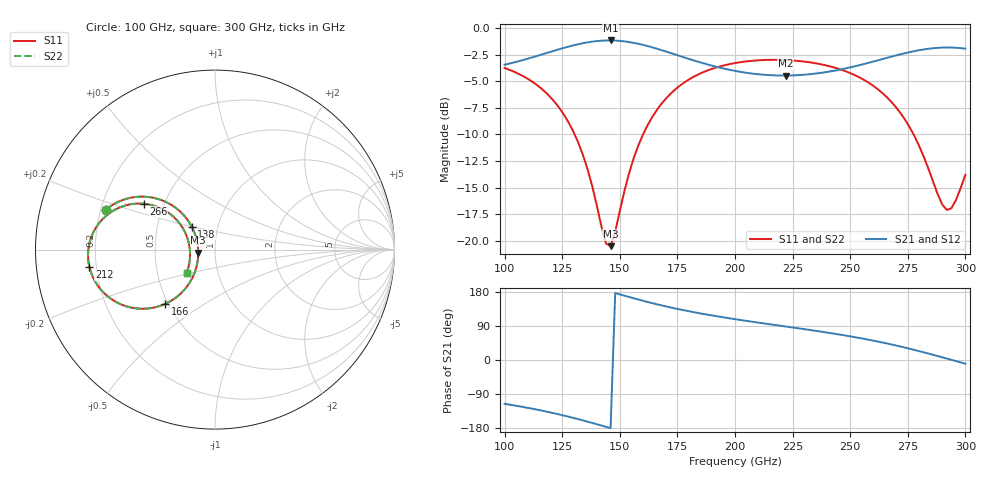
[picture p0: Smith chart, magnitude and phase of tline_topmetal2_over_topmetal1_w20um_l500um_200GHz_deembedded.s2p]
! Created with skrf 2.2.0 (http://scikit-rf.org).
# GHz S DB R 50.0
! Port[1] = P1
! Port[2] = P2
!freq dBS11 angS11 dBS21 angS21 dBS12 angS12 dBS22 angS22
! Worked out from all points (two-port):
!   101 points, 100 GHz to 300 GHz, reference 50 ohm
!   highest |S21| = -1.18 dB at 146 GHz (marker M1); lowest = -4.5 dB at 222 GHz (marker M2)
!   |S21| within 3 dB of the highest: start of sweep to 203.9 GHz; 238.5 GHz to end of sweep
!   lowest |S11| = -20.5 dB at 146 GHz (marker M3), VSWR 1.21, Z = 41.5 - j1.49 ohm
!   |S11| at or under -10 dB: 130.4 GHz to 160.1 GHz (29.67 GHz wide, 20.4 % of centre); 277.5 GHz to end of sweep
!   |S22| runs from -20.4 to -3.0 dB; largest |S21 - S12| = 9.4e-14
!   S11 on the Smith chart (normalised r, x): 100 GHz: 0.22, +0.17; 138 GHz: 0.75, +0.20; 166 GHz: 0.48, -0.35; 212 GHz: 0.17, -0.07; 266 GHz: 0.39, +0.25; 300 GHz: 0.71, -0.19
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100  -3.77 160.0  -3.45 -115.6  -3.45 -115.6  -3.77 160.0
120  -6.53 141.6  -2.24 -138.6  -2.24 -138.6  -6.53 141.6
128  -8.96 134.6  -1.74 -150.0  -1.74 -150.0  -8.96 134.7
134  -11.91 132.2  -1.44 -159.5  -1.44 -159.5  -11.91 132.3
138  -14.81 135.3  -1.29 -166.1  -1.29 -166.1  -14.80 135.4
144  -20.22 168.0  -1.18 -176.4  -1.18 -176.4  -20.18 168.1
146  -20.47 -169.2  -1.18 -179.9  -1.18 -179.9  -20.43 -169.2
156  -12.25 -127.2  -1.40 162.9  -1.40 162.9  -12.24 -127.3
166  -7.73 -132.5  -1.95 147.2  -1.95 147.2  -7.72 -132.6
168  -7.15 -134.3  -2.08 144.3  -2.08 144.3  -7.14 -134.4
182  -4.59 -147.7  -3.04 126.3  -3.04 126.3  -4.59 -147.7
200  -3.30 -163.1  -4.03 107.8  -4.03 107.8  -3.30 -163.1
212  -3.02 -172.1  -4.39 97.0  -4.39 97.0  -3.02 -172.1
222  -3.02 -179.3  -4.47 88.4  -4.47 88.4  -3.02 -179.3
234  -3.28 172.0  -4.31 77.9  -4.31 77.9  -3.28 172.1
250  -4.24 159.9  -3.70 62.4  -3.70 62.4  -4.24 159.9
266  -6.52 147.2  -2.81 43.5  -2.81 43.5  -6.52 147.2
268  -6.97 145.8  -2.69 40.9  -2.69 40.9  -6.97 145.8
278  -10.20 141.5  -2.17 26.4  -2.17 26.4  -10.20 141.5
292  -17.08 -179.6  -1.84 3.6  -1.84 3.6  -17.12 -179.7
296  -16.10 -154.9  -1.87 -3.1  -1.87 -3.1  -16.14 -154.8
300  -13.79 -140.8  -1.95 -9.7  -1.95 -9.7  -13.81 -140.7
